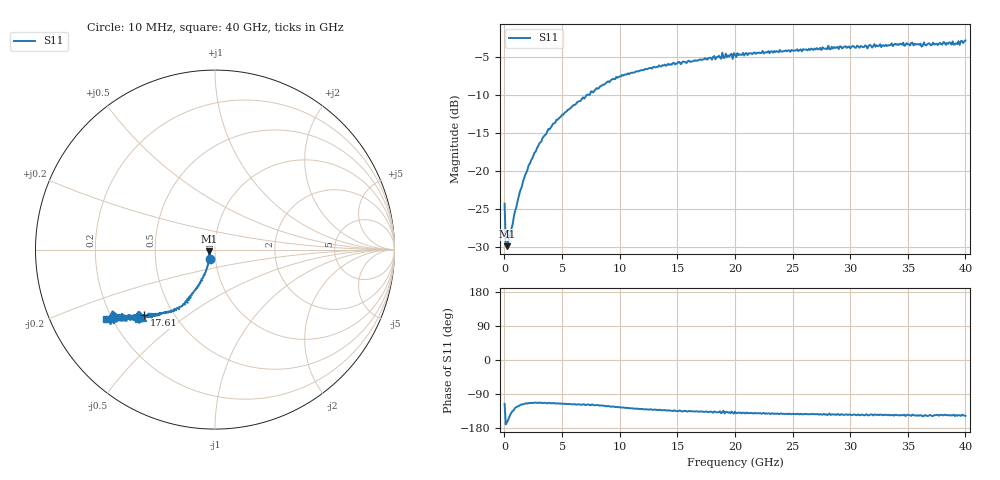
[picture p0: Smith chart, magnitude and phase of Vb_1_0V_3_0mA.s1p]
!Agilent Technologies,N5247A,US51170167,A.09.90.10
!Agilent N5247A: A.09.90.10
!Date: Tuesday, November 22, 2016 15:32:58
!Correction: S22(Full 1 Port(2))
!S1P File: Measurement: S22:
# Hz S  RI  R 50
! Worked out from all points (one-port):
!   401 points, 10 MHz to 40 GHz, reference 50 ohm
!   lowest |S11| = -29.9 dB at 209.9 MHz (marker M1), VSWR 1.07, Z = 47 - j0.799 ohm
!   |S11| at or under -10 dB: start of sweep to 7.178 GHz; 7.283 GHz to 7.376 GHz (92.72 MHz wide, 1.27 % of centre)
!   S11 on the Smith chart (normalised r, x): 10 MHz: 0.94, -0.10; 17.61 GHz: 0.34, -0.35; 40 GHz: 0.18, -0.28
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1e7  -0.0263 -0.0549
2.0995e8  -0.0309 -0.00849
3.09925e8  -0.032 -0.0125
4.099e8  -0.0318 -0.0179
1.109725e9  -0.0338 -0.0518
1.40965e9  -0.0352 -0.067
1.909525e9  -0.0399 -0.0893
2.309425e9  -0.0468 -0.1076
2.8093e9  -0.0553 -0.1293
3.6091e9  -0.0692 -0.1598
5.00875e9  -0.099 -0.2125
7.708075e9  -0.1569 -0.2875
1.00075e10  -0.2361 -0.3439
1.230692e10  -0.2986 -0.3579
1.500625e10  -0.3586 -0.3605
1.76056e10  -0.3951 -0.3654
1.860535e10  -0.4217 -0.3851
1.910522e10  -0.4303 -0.3488
2.0005e10  -0.4205 -0.4016
2.500375e10  -0.4867 -0.3817
3.00025e10  -0.5167 -0.3754
3.500125e10  -0.5524 -0.3937
3.52012e10  -0.5529 -0.3731
3.650088e10  -0.5533 -0.3842
3.80005e10  -0.5601 -0.3812
3.900025e10  -0.5474 -0.3951
3.970008e10  -0.5812 -0.4158
4e10  -0.6069 -0.3866
